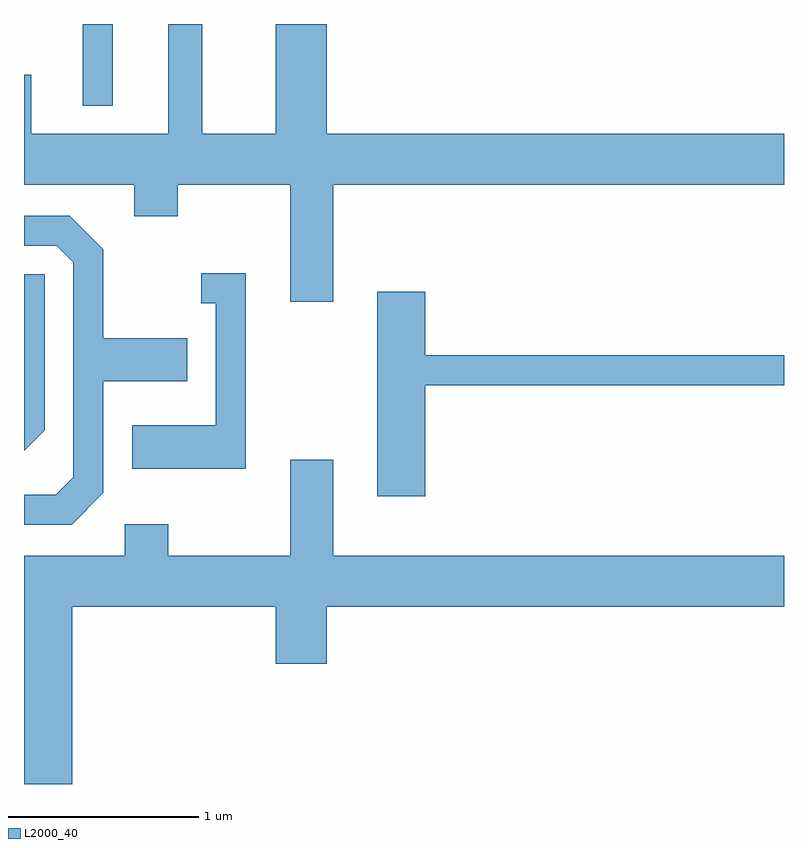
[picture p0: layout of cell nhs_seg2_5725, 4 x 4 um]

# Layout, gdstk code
import gdstk
lib = gdstk.Library(unit=1e-6, precision=1e-09)
def R(c, l, rs):  # rectangles x0, y0, x1, y1
    for r in rs: c.add(gdstk.rectangle(r[:2], r[2:], *l))
def P(c, l, *ps):  # polygons
    for p in ps: c.add(gdstk.Polygon(p, *l))
L2000_40 = (2000, 40)

nhs_seg2_5725 = lib.new_cell('nhs_seg2_5725')
R(nhs_seg2_5725, L2000_40, [(353.921,1075.373,354.079,1075.802)])
P(nhs_seg2_5725, L2000_40, [(355.239,1074.956),(357.611,1074.956),(357.611,1075.224),(355.204,1075.224),(355.204,1075.802),(354.936,1075.802),(354.936,1075.224),(354.549,1075.224),(354.549,1075.802),(354.371,1075.802),(354.371,1075.224),(353.649,1075.224),(353.649,1075.534),(353.611,1075.534),(353.611,1074.956),(354.191,1074.956),(354.191,1074.791),(354.419,1074.791),(354.419,1074.956),(355.011,1074.956),(355.011,1074.341),(355.239,1074.341)],
  [(354.029,1073.334),(354.029,1073.921),(354.469,1073.921),(354.469,1074.149),(354.029,1074.149),(354.029,1074.617),(353.852,1074.794),(353.611,1074.794),(353.611,1074.636),(353.784,1074.636),(353.871,1074.549),(353.871,1073.417),(353.779,1073.324),(353.611,1073.324),(353.611,1073.166),(353.862,1073.166)],
  [(354.779,1074.489),(354.543,1074.489),(354.543,1074.331),(354.621,1074.331),(354.621,1073.689),(354.181,1073.689),(354.181,1073.461),(354.779,1073.461)],
  [(353.719,1073.664),(353.719,1074.484),(353.611,1074.484),(353.611,1073.555)],
  [(355.724,1073.901),(357.611,1073.901),(357.611,1074.059),(355.724,1074.059),(355.724,1074.394),(355.471,1074.394),(355.471,1073.316),(355.724,1073.316)],
  [(353.864,1072.736),(354.936,1072.736),(354.936,1072.436),(355.204,1072.436),(355.204,1072.736),(357.611,1072.736),(357.611,1073.004),(355.239,1073.004),(355.239,1073.509),(355.011,1073.509),(355.011,1073.004),(354.369,1073.004),(354.369,1073.169),(354.141,1073.169),(354.141,1073.004),(353.611,1073.004),(353.611,1071.802),(353.864,1071.802)])

lib.write_gds('nhs_seg2_5725.gds')
